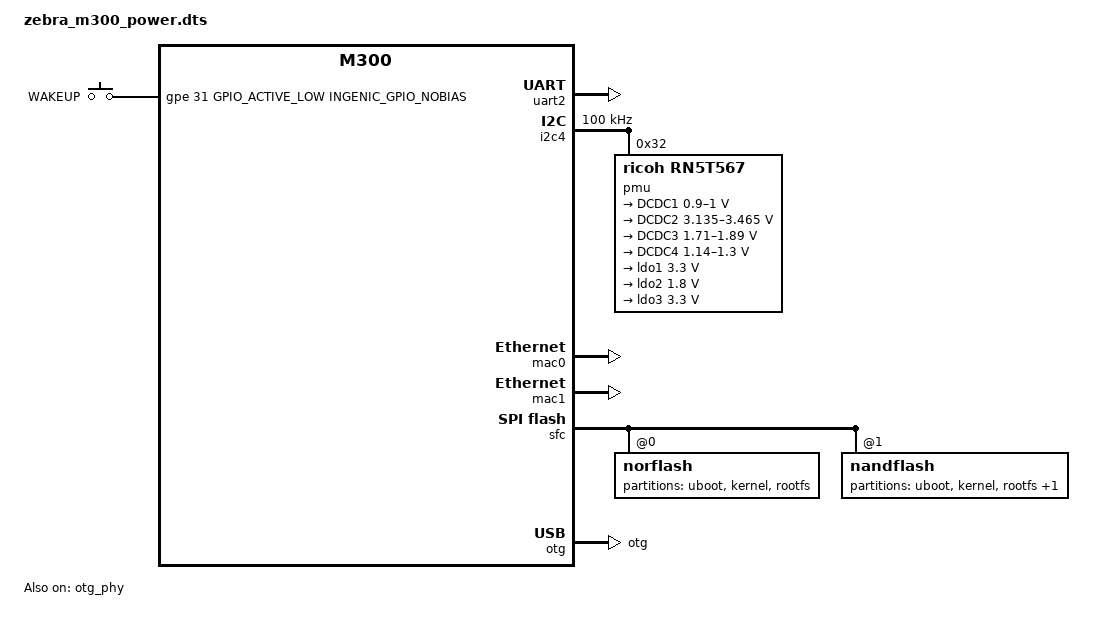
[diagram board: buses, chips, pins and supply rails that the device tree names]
/dts-v1/;

#include <dt-bindings/input/input.h>
#include "m300.dtsi"
#include <dt-bindings/interrupt-controller/irq.h>
#include <generated/autoconf.h>

/ {
	compatible = "ingenic,zebra", "ingenic,m300";


	reserved-memory {
		#address-cells = <1>;
		#size-cells = <1>;
		ranges =<>;

		reserved_memory: reserved_mem@0x6000000{
		      compatible = "shared-dma-pool";
		      reg = <0x06000000 0x2000000>;
		};
	};
};

&uart0 {
	status = "disable";
};
&uart1 {
	status = "disable";
};
&uart3 {
	status = "disable";
};


&uart2 {
	status = "okay";
	pinctrl-names = "default";
	pinctrl-0 = <&uart2_pd>;
};

&cpufreq {
	status = "okay";
	operating-points = <
		/*KHZ uV */
		1200000	900000
		750000	900000
		600000	900000
		500000	900000
		400000	900000
		375000	900000
		300000	900000
		200000	900000
			>;

};

&pinctrl {
	ingenic,gpa_voltage = <GPIO_VOLTAGE_1V8>;
};

&i2c4 {
	status = "okay";
	clock-frequency = <100000>;
	timeout = <1000>;
	pinctrl-names = "default";
	pinctrl-0 = <&i2c4_pc>;

	pmu: rn5t567@0x32{
		status = "okay";
		compatible = "ricoh,rn5t567";
		reg = <0x32>;

		regulators {
			DCDC1: dcdc1 {
				regulator-compatible = "DCDC1";
				regulator-name = "DC1_0v9";
				regulator-min-microvolt = <900000>;
				regulator-max-microvolt = <1000000>;
				regulator-boot-on;
				regulator-always-on;
				sleep-slot = <13>;
			};
			DCDC2: dcdc2 {
				regulator-compatible = "DCDC2";
				regulator-name = "DC2_3v3";
				regulator-min-microvolt = <3135000>;
				regulator-max-microvolt = <3465000>;
				regulator-boot-on;
				regulator-always-on;
				sleep-slot = <13>;
			};
			DCDC3: dcdc3 {
				regulator-compatible = "DCDC3";
				regulator-name = "DC3_1v8";
				regulator-min-microvolt = <1710000>;
				regulator-max-microvolt = <1890000>;
				regulator-boot-on;
				regulator-always-on;
				sleep-slot = <15>;
			};
			DCDC4: dcdc4 {
				regulator-compatible = "DCDC4";
				regulator-name = "DC4_1v2";
				regulator-min-microvolt = <1140000>;
				regulator-max-microvolt = <1300000>;
				regulator-boot-on;
				regulator-always-on;
				sleep-slot = <15>;
			};
			ldo1: ldo1 {
				regulator-compatible = "LDO1";
				regulator-name = "DAC_3v3";
				regulator-min-microvolt = <3300000>;
				regulator-max-microvolt = <3300000>;
			};
			ldo2: ldo2 {
				regulator-compatible = "LDO2";
				regulator-name = "EFUSE_1v8";
				regulator-min-microvolt = <1800000>;
				regulator-max-microvolt = <1800000>;
			};
			ldo3: ldo3 {
				regulator-compatible = "LDO3";
				regulator-name = "LCD_3v3";
				regulator-min-microvolt = <3300000>;
				regulator-max-microvolt = <3300000>;
			};


	};
      };
};

&felix {
	status = "disable";
	memory-region=<&reserved_memory>;
};

&helix {
	status = "disable";
	memory-region=<&reserved_memory>;
};

&ispcam0 {
	status = "disable";
	memory-region=<&reserved_memory>;
};

&ispcam1 {
	status = "disable";
	memory-region=<&reserved_memory>;
};

&pdma {
	status = "okay";
};

&msc0 {
	status = "disable";
	pinctrl-names ="default";
	pinctrl-0 = <&msc0_8bit>;
	mmc-hs200-1_8v;
	cap-mmc-highspeed;
	non-removable;
	max-frequency = <200000000>;
	bus-width = <8>;
	non-removable;
	voltage-ranges = <1800 3300>;

	/* special property */
	ingenic,rst-gpios = <0>;
};

&msc1 {
	status = "disable";
	pinctrl-names ="default","enable", "disable";
	pinctrl-0 = <&msc1_4bit>;
	pinctrl-1 = <&rtc32k_enable>;
	pinctrl-2 = <&rtc32k_disable>;

	sd-uhs-sdr104;
	max-frequency = <150000000>;
	bus-width = <4>;
	voltage-ranges = <1800 3300>;
	non-removable;

	ingenic,sdio_clk = <1>;
	keep-power-in-suspend;

	/* special property */
	ingenic,sdr-gpios = <0>;
	ingenic,rst-gpios = <0>;
	ingenic,removal-manual; /*removal-dontcare, removal-nonremovable, removal-removable, removal-manual*/

	bcmdhd_wlan: bcmdhd_wlan {
		 compatible = "android,bcmdhd_wlan";
		 ingenic,sdio-irq = <&gpd 20 IRQ_TYPE_LEVEL_HIGH INGENIC_GPIO_NOBIAS>;
		 ingenic,sdio-reset = <&gpd 19 GPIO_ACTIVE_LOW INGENIC_GPIO_NOBIAS>;
	};
};


&msc2 {
	status = "disable";
	pinctrl-names ="default";
	pinctrl-0 = <&msc2_4bit>;
	/*mmc-hs200-1_8v;*/
	/*cap-mmc-highspeeda;*/
	sd-uhs-sdr104;
	non-removable;
	max-frequency = <50000000>;
	bus-width = <4>;
	non-removable;
	voltage-ranges = <1800 3300>;

	/* special property */
	ingenic,sdr-gpios = <&gpb 5 GPIO_ACTIVE_HIGH INGENIC_GPIO_NOBIAS>;
	ingenic,wp-gpios = <0>;
	ingneic,cd-gpios = <0>;
	ingenic,rst-gpios = <0>;
};

/*
&mac0 {
	pinctrl-names = "default", "reset";
	pinctrl-0 = <&mac0_rmii_p0_normal>, <&mac0_rmii_p1_normal>;
	pinctrl-1 = <&mac0_rmii_p0_rst>, <&mac0_rmii_p1_normal>;
	status = "okay";
	ingenic,no_phy_connect;
	ingenic,rst-gpio = <&gpb 0 GPIO_ACTIVE_LOW INGENIC_GPIO_NOBIAS>;
	ingenic,rst-ms = <10>;
	ingenic,mac-mode = <RMII>;
	ingenic,mode-reg = <0xb00000e4>;
};

&mac1 {
	pinctrl-names = "default", "reset";
	pinctrl-0 = <&mac1_rmii_p0_normal>, <&mac1_rmii_p1_normal>;
	pinctrl-1 = <&mac1_rmii_p0_rst>, <&mac1_rmii_p1_normal>;
	status = "okay";
	ingenic,no_phy_connect;
	ingenic,rst-gpio = <&gpb 26 GPIO_ACTIVE_LOW INGENIC_GPIO_NOBIAS>;
	ingenic,rst-ms = <10>;
	ingenic,mac-mode = <RMII>;
	ingenic,mode-reg = <0xb00000e8>;
};
*/

&mac0 {
	pinctrl-names = "default", "reset";
	pinctrl-0 = <&mac0_rgmii_p0_normal>, <&mac0_rgmii_p1_normal>;
	pinctrl-1 = <&mac0_rgmii_p0_rst>, <&mac0_rgmii_p1_normal>;
	status = "okay";
	ingenic,rst-gpio = <&gpb 0 GPIO_ACTIVE_LOW INGENIC_GPIO_NOBIAS>;
	ingenic,rst-ms = <10>;
	ingenic,mac-mode = <RGMII>;
	ingenic,no_phy_connect;
	ingenic,mode-reg = <0xb00000e4>;
	ingenic,rx-clk-delay = <0x66>;
	ingenic,tx-clk-delay = <0x66>;
	ingenic,phy-clk-freq = <25000000>;
};

&mac1 {
	pinctrl-names = "default", "reset";
	pinctrl-0 = <&mac1_rgmii_p0_normal>, <&mac1_rgmii_p1_normal>;
	pinctrl-1 = <&mac1_rgmii_p0_rst>, <&mac1_rgmii_p1_normal>;
	status = "okay";
	ingenic,rst-gpio = <&gpb 26 GPIO_ACTIVE_LOW INGENIC_GPIO_NOBIAS>;
	ingenic,rst-ms = <10>;
	ingenic,mac-mode = <RGMII>;
	ingenic,no_phy_connect;
	ingenic,mode-reg = <0xb00000e8>;
	ingenic,rx-clk-delay = <0x0>;
	ingenic,tx-clk-delay = <0x0>;
	ingenic,phy-clk-freq = <25000000>;
};


&sfc {
	status = "okay";
	pinctrl-names = "default";
	pinctrl-0 = <&sfc_pe>;
	ingenic,sfc-init-frequency = <200000000>;
	ingenic,sfc-max-frequency = <400000000>;
	ingenic,use_ofpart_info  = /bits/ 8 <0>;
	ingenic,spiflash_param_offset = <0>;

	norflash@0 {
		partitions {
			compatible = "fixed-partitions";
			#address-cells = <1>;
			#size-cells = <1>;

			/* spi nor flash partition */
			uboot@0 {
				label = "uboot";
				reg = <0x0000000 0x40000>;
				/*read-only;*/
			};

			kernel@40000 {
				label = "kernel";
				reg = <0x40000 0x300000>;
			};

			rootfs@360000 {
				label = "rootfs";
				reg = <0x360000 0xca0000>;
			};
		};
	};

	nandflash@1 {
		partitions {
			compatible = "fixed-partitions";
			#address-cells = <1>;
			#size-cells = <1>;

			/* spi nand flash partition */
			partition@0 {
				label = "uboot";
				reg = <0x0000000 0x100000>;
				/*read-only;*/
			};

			partition@100000 {
				label = "kernel";
				reg = <0x100000 0x800000>;
			};

			partition@900000 {
				label = "rootfs";
				reg = <0x900000 0x2800000>;
			};

			partition@3100000 {
				label = "userdata";
				reg = <0x3100000 0xcf00000>;
			};
		};
	};

};

&pwm {
	pinctrl-names = "default";
	pinctrl-0 = <&pwm0_pd>;
	status = "disable";
};

&otg {
	g-use-dma;
	dr_mode = "otg"; // host,peripheral,otg
	status = "okay";
};

&otg_phy {
	compatible = "ingenic,innophy", "syscon";
	ingenic,drvvbus-gpio = <&gpe 22 GPIO_ACTIVE_HIGH INGENIC_GPIO_NOBIAS>;
	status = "okay";
};

&as_dmic {
	pinctrl-names = "default";
	pinctrl-0 = <&dmic_pc_4ch>;
	status = "disable";
};

&as_spdif {
	status = "disable";
};

&as_aux_mixer {
	status = "disable";
};

&as_be_baic {
	status = "disable";
};

&as_platform {
	status = "disable";
};

&as_fmtcov {
	status = "disable";
};
&as_fe_dsp {
	status = "disable";
};
&icodec {
	status = "disable";
};

&dpu {
	status = "disable";
	port {
		dpu_out_ep: endpoint {
	/*		remote-endpoint = <&panel_ma0060_ep>;*/
	    };
	};
};


/ {

	extclk: extclk {
		clock-frequency = <24000000>;
	};

	gpio_keys: gpio_keys {
		   compatible = "gpio-keys";

		   wakeup {
			   label = "WAKEUP";
			   linux,code = <KEY_WAKEUP>;
			   gpios = <&gpe 31 GPIO_ACTIVE_LOW INGENIC_GPIO_NOBIAS>;
			   gpio-key,wakeup;
		   };
	   };
};
